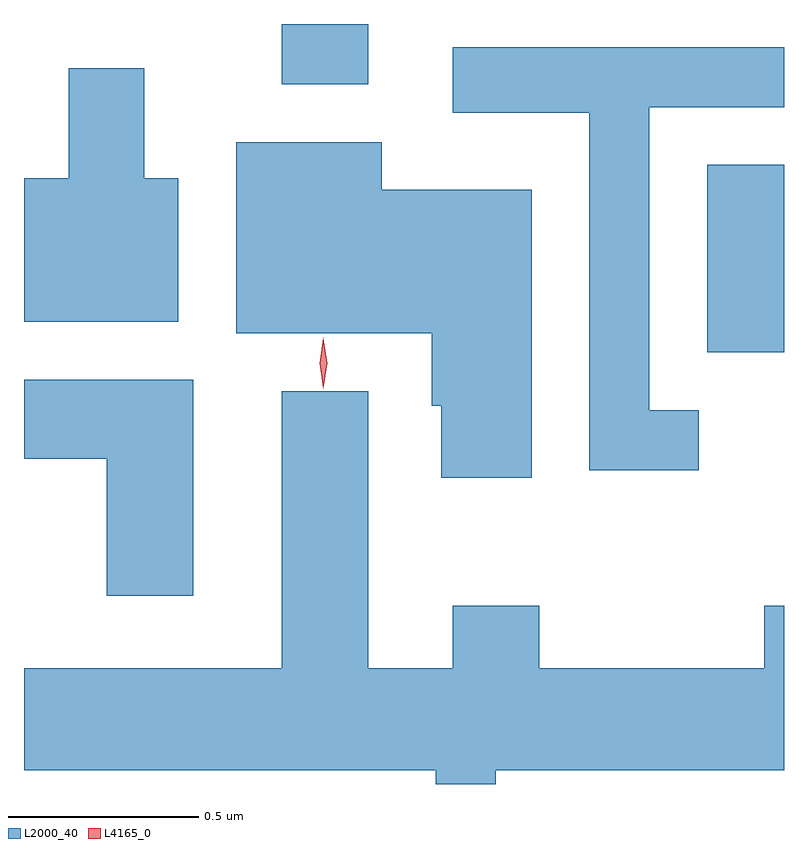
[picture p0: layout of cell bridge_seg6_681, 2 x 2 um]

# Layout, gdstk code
import gdstk
lib = gdstk.Library(unit=1e-6, precision=1e-09)
def R(c, l, rs):  # rectangles x0, y0, x1, y1
    for r in rs: c.add(gdstk.rectangle(r[:2], r[2:], *l))
def P(c, l, *ps):  # polygons
    for p in ps: c.add(gdstk.Polygon(p, *l))
L2000_40 = (2000, 40)
L4165_0 = (4165, 0)

bridge_seg6_681 = lib.new_cell('bridge_seg6_681')
R(bridge_seg6_681, L2000_40, [(328.101,1613.296,328.303,1613.789), (326.981,1614.001,327.209,1614.16)])
P(bridge_seg6_681, L2000_40, [(328.078,1613.144),(327.949,1613.144),(327.949,1613.941),(328.303,1613.941),(328.303,1614.099),(327.431,1614.099),(327.431,1613.926),(327.791,1613.926),(327.791,1612.986),(328.078,1612.986)],
  [(326.709,1613.754),(326.619,1613.754),(326.619,1614.044),(326.421,1614.044),(326.421,1613.754),(326.303,1613.754),(326.303,1613.376),(326.709,1613.376)],
  [(327.639,1613.724),(327.244,1613.724),(327.244,1613.849),(326.861,1613.849),(326.861,1613.346),(327.376,1613.346),(327.376,1613.156),(327.401,1613.156),(327.401,1612.966),(327.639,1612.966)],
  [(326.749,1613.224),(326.303,1613.224),(326.303,1613.016),(326.521,1613.016),(326.521,1612.656),(326.749,1612.656)],
  [(327.544,1612.196),(328.303,1612.196),(328.303,1612.629),(328.251,1612.629),(328.251,1612.464),(327.659,1612.464),(327.659,1612.629),(327.431,1612.629),(327.431,1612.464),(327.209,1612.464),(327.209,1613.194),(326.981,1613.194),(326.981,1612.464),(326.303,1612.464),(326.303,1612.196),(327.386,1612.196),(327.386,1612.16),(327.544,1612.16)])
P(bridge_seg6_681, L4165_0, [(327.091,1613.2),(327.09,1613.201),(327.081,1613.267),(327.09,1613.333),(327.091,1613.334),(327.091,1613.333),(327.101,1613.267),(327.091,1613.201)])

lib.write_gds('bridge_seg6_681.gds')
